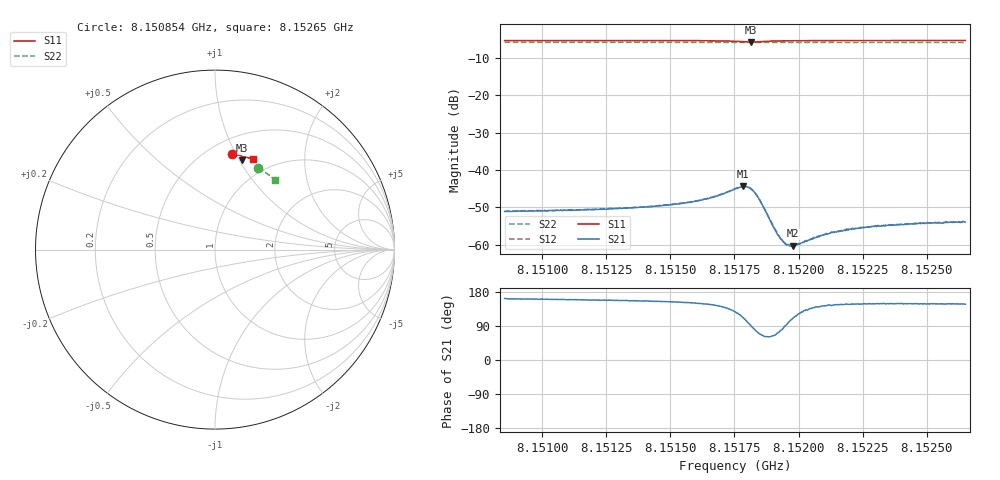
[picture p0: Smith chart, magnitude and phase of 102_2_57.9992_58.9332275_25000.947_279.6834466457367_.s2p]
#  HZ  S  RI  R  50.00
! Rohde & Schwarz Vector Network Analyzer
! Rohde-Schwarz,ZNB20-2Port,1311601062101988,3.16
! Created: UTC 3/21/2024, 12:54:51 AM
! freq[Hz]  re:S11  im:S11  re:S21  im:S21  re:S12  im:S12  re:S22  im:S22
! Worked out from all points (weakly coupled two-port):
!   401 points, 8.150854 GHz to 8.15265 GHz, reference 50 ohm
!   highest |S21| = -44.37 dB at 8.151783 GHz (marker M1); lowest = -60.2 dB at 8.151976 GHz (marker M2)
!   lowest |S11| = -5.7 dB at 8.151815 GHz (marker M3), VSWR 3.16, Z = 37.7 + j51.3 ohm
!   |S11| at or under -10 dB: nowhere
!   |S22| runs from -5.8 to -5.8 dB; largest |S21 - S12| = 0.00013
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8.1508542e9  0.093 0.5344  -0.00266 0.000854  -0.00267 0.00092  0.2414 0.4543
8.151155e9  0.1145 0.5307  -0.00274 0.00106  -0.00276 0.00112  0.2584 0.4445
8.1514557e9  0.1366 0.5254  -0.00301 0.00141  -0.00301 0.00149  0.2746 0.4342
8.1516173e9  0.1502 0.5206  -0.00338 0.00203  -0.00341 0.00211  0.2834 0.4283
8.1516847e9  0.1566 0.5165  -0.00365 0.00273  -0.00362 0.0028  0.2869 0.4257
8.151752e9  0.1616 0.507  -0.0034 0.00443  -0.00337 0.00451  0.2903 0.4226
8.1517834e9  0.1594 0.4996  -0.00226 0.00561  -0.0022 0.00565  0.2919 0.4215
8.1518014e9  0.1549 0.4969  -0.000995 0.00585  -0.000949 0.00594  0.2924 0.4208
8.1518148e9  0.1507 0.497  3.04e-05 0.00557  7.37e-05 0.00568  0.2929 0.4205
8.1518328e9  0.146 0.5  0.00103 0.00468  0.00112 0.00469  0.2937 0.4198
8.1518463e9  0.1445 0.5036  0.00143 0.00383  0.00146 0.00381  0.2944 0.4195
8.1519091e9  0.1501 0.5146  0.000634 0.00143  0.000676 0.00145  0.2978 0.4176
8.1519226e9  0.1519 0.5156  0.000387 0.00127  0.000424 0.00125  0.2987 0.4171
8.1519405e9  0.1542 0.5163  0.000113 0.00108  0.000104 0.0011  0.2997 0.4165
8.151954e9  0.1557 0.5167  -7.09e-05 0.000991  -6.87e-05 0.00101  0.3004 0.416
8.1519765e9  0.1586 0.5169  -0.00032 0.000918  -0.000321 0.000934  0.3016 0.4149
8.1520124e9  0.1623 0.5168  -0.000631 0.000854  -0.00063 0.000832  0.3036 0.4137
8.1520528e9  0.1661 0.5165  -0.000872 0.000798  -0.000875 0.000849  0.3056 0.4121
8.1521336e9  0.173 0.515  -0.0012 0.000845  -0.00119 0.000856  0.3098 0.4089
8.1521919e9  0.1776 0.5139  -0.00132 0.000856  -0.00136 0.000876  0.3126 0.4065
8.1523535e9  0.1894 0.5103  -0.00158 0.000974  -0.00157 0.000974  0.3208 0.3999
8.1526498e9  0.2096 0.5031  -0.0017 0.00109  -0.00172 0.00114  0.335 0.3873
